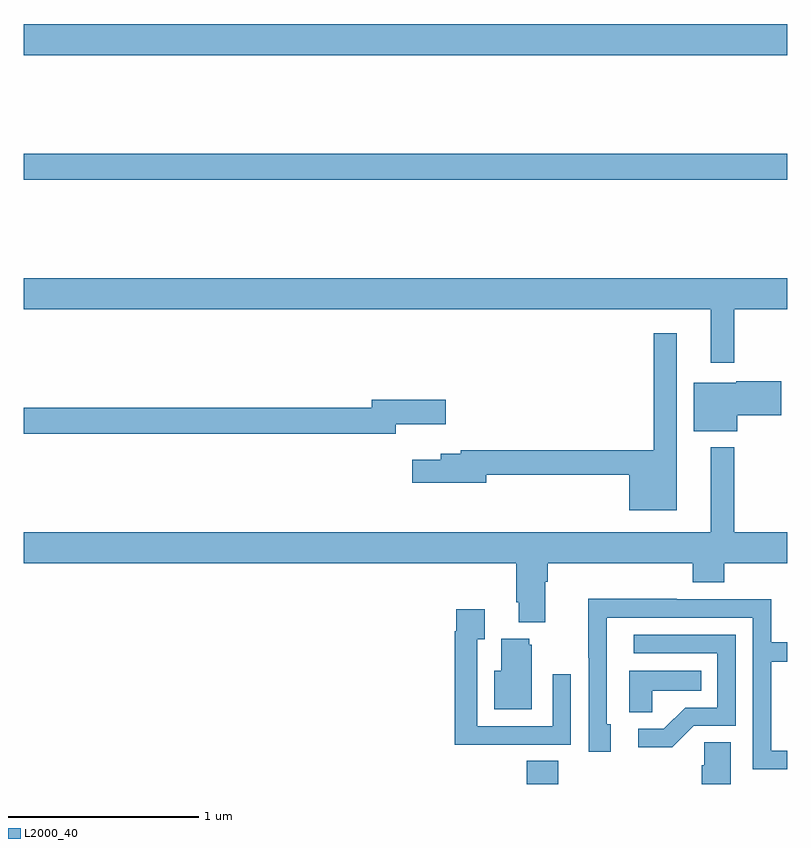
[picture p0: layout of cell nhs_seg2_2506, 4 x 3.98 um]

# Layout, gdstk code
import gdstk
lib = gdstk.Library(unit=1e-6, precision=1e-09)
def R(c, l, rs):  # rectangles x0, y0, x1, y1
    for r in rs: c.add(gdstk.rectangle(r[:2], r[2:], *l))
def P(c, l, *ps):  # polygons
    for p in ps: c.add(gdstk.Polygon(p, *l))
L2000_40 = (2000, 40)

nhs_seg2_2506 = lib.new_cell('nhs_seg2_2506')
R(nhs_seg2_2506, L2000_40, [(243.635,659.8,243.8,659.921), (241,662.968,245,663.104), (241,663.62,245,663.784)])
P(nhs_seg2_2506, L2000_40, [(244.723,662.288),(245,662.288),(245,662.452),(241,662.452),(241,662.288),(244.601,662.288),(244.601,662.007),(244.723,662.007)],
  [(244.423,662.164),(244.302,662.164),(244.302,661.55),(243.289,661.55),(243.289,661.531),(243.185,661.531),(243.185,661.501),(243.036,661.501),(243.036,661.379),(243.424,661.379),(243.424,661.422),(244.172,661.422),(244.172,661.235),(244.423,661.235)],
  [(244.738,661.733),(244.969,661.733),(244.969,661.911),(244.734,661.911),(244.734,661.903),(244.511,661.903),(244.511,661.649),(244.738,661.649)],
  [(242.95,661.685),(243.211,661.685),(243.211,661.815),(242.822,661.815),(242.822,661.772),(241,661.772),(241,661.636),(242.95,661.636)],
  [(243.733,660.86),(243.746,660.86),(243.746,660.956),(244.505,660.956),(244.505,660.857),(244.67,660.857),(244.67,660.956),(245,660.956),(245,661.12),(244.723,661.12),(244.723,661.564),(244.601,661.564),(244.601,661.12),(241,661.12),(241,660.956),(243.581,660.956),(243.581,660.754),(243.593,660.754),(243.593,660.647),(243.733,660.647)],
  [(245,659.973),(244.917,659.973),(244.917,660.442),(245,660.442),(245,660.543),(244.917,660.543),(244.917,660.768),(244.421,660.768),(244.421,660.77),(243.958,660.77),(243.958,660.463),(243.96,660.463),(243.96,659.97),(244.075,659.97),(244.075,660.114),(244.056,660.114),(244.056,660.672),(244.821,660.672),(244.821,659.877),(245,659.877)],
  [(243.551,660.006),(243.867,660.006),(243.867,660.376),(243.771,660.376),(243.771,660.102),(243.375,660.102),(243.375,660.559),(243.415,660.559),(243.415,660.715),(243.267,660.715),(243.267,660.602),(243.259,660.602),(243.259,660.005),(243.551,660.005)],
  [(244.512,660.105),(244.731,660.105),(244.731,660.582),(244.197,660.582),(244.197,660.486),(244.635,660.486),(244.635,660.201),(244.466,660.201),(244.355,660.09),(244.221,660.09),(244.221,659.993),(244.399,659.993)],
  [(243.661,660.531),(243.65,660.531),(243.65,660.562),(243.503,660.562),(243.503,660.394),(243.464,660.394),(243.464,660.191),(243.661,660.191)],
  [(244.293,660.29),(244.55,660.29),(244.55,660.394),(244.172,660.394),(244.172,660.175),(244.293,660.175)],
  [(244.705,660.02),(244.566,660.02),(244.566,659.897),(244.553,659.897),(244.553,659.8),(244.705,659.8)])

lib.write_gds('nhs_seg2_2506.gds')
